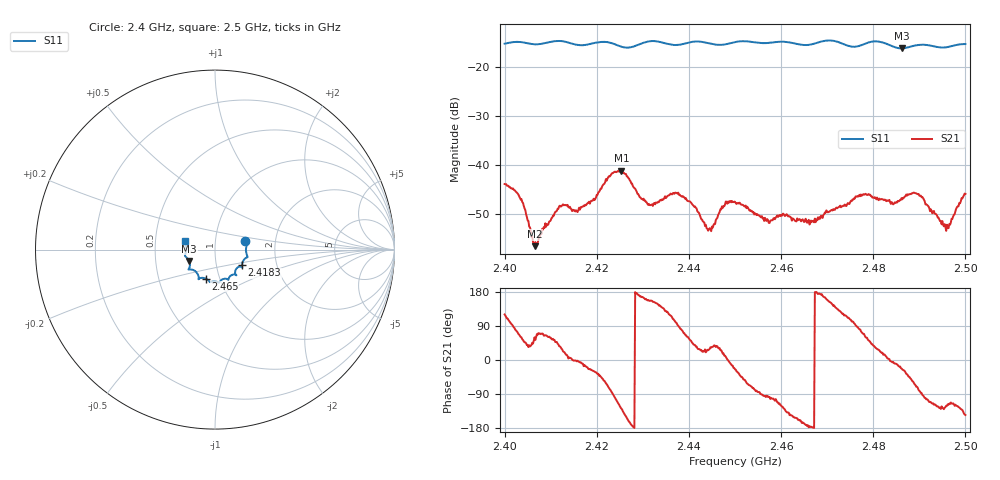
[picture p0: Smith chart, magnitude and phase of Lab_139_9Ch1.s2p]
# Hz S RI R 50
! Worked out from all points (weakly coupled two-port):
!   601 points, 2.4 GHz to 2.5 GHz, reference 50 ohm
!   highest |S21| = -41.12 dB at 2.4253 GHz (marker M1); lowest = -56.5 dB at 2.4065 GHz (marker M2)
!   lowest |S11| = -16.1 dB at 2.4862 GHz (marker M3), VSWR 1.37, Z = 37.2 - j4.79 ohm
!   |S11| at or under -10 dB: start of sweep to end of sweep
!   S12 and S22 are empty: the file has one direction only
!   S11 on the Smith chart (normalised r, x): 2.4 GHz: 1.40, +0.13; 2.4183 GHz: 1.33, -0.24; 2.465 GHz: 0.86, -0.28; 2.5 GHz: 0.71, +0.07
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2.4e9  0.1687 0.0464  -0.00323 0.00557  0 0  0 0
2.4035e9  0.1792 0.0307  0.00219 0.00389  0 0  0 0
2.4065e9  0.1726 0.00295  0.000751 0.00129  0 0  0 0
2.412167e9  0.1817 -0.0416  0.00316 0.0021  0 0  0 0
2.416667e9  0.1546 -0.0679  0.00368 -0.000533  0 0  0 0
2.418333e9  0.1497 -0.0869  0.00388 -0.00174  0 0  0 0
2.425333e9  0.1313 -0.0965  -0.00541 -0.00693  0 0  0 0
2.431167e9  0.1171 -0.1423  -0.00367 0.00145  0 0  0 0
2.433333e9  0.1178 -0.141  -0.00355 0.00234  0 0  0 0
2.4375e9  0.0863 -0.1461  -0.000266 0.00515  0 0  0 0
2.444333e9  0.0666 -0.1633  0.00196 0.00102  0 0  0 0
2.447667e9  0.0385 -0.1671  0.00374 0.000779  0 0  0 0
2.45e9  0.0255 -0.18  0.00386 -0.00176  0 0  0 0
2.457167e9  -0.0108 -0.1778  -0.00028 -0.00274  0 0  0 0
2.465e9  -0.0525 -0.1614  -0.00257 -0.000572  0 0  0 0
2.466667e9  -0.0712 -0.1572  -0.00265 -0.000138  0 0  0 0
2.4775e9  -0.1275 -0.1118  0.00145 0.00467  0 0  0 0
2.483333e9  -0.1411 -0.0967  0.00434 0.000238  0 0  0 0
2.486167e9  -0.1435 -0.0628  0.00428 -0.0018  0 0  0 0
2.489833e9  -0.1657 -0.0375  0.000967 -0.00501  0 0  0 0
2.495833e9  -0.1602 0.014  -0.0011 -0.00184  0 0  0 0
2.5e9  -0.1671 0.0468  -0.0042 -0.00292  0 0  0 0
